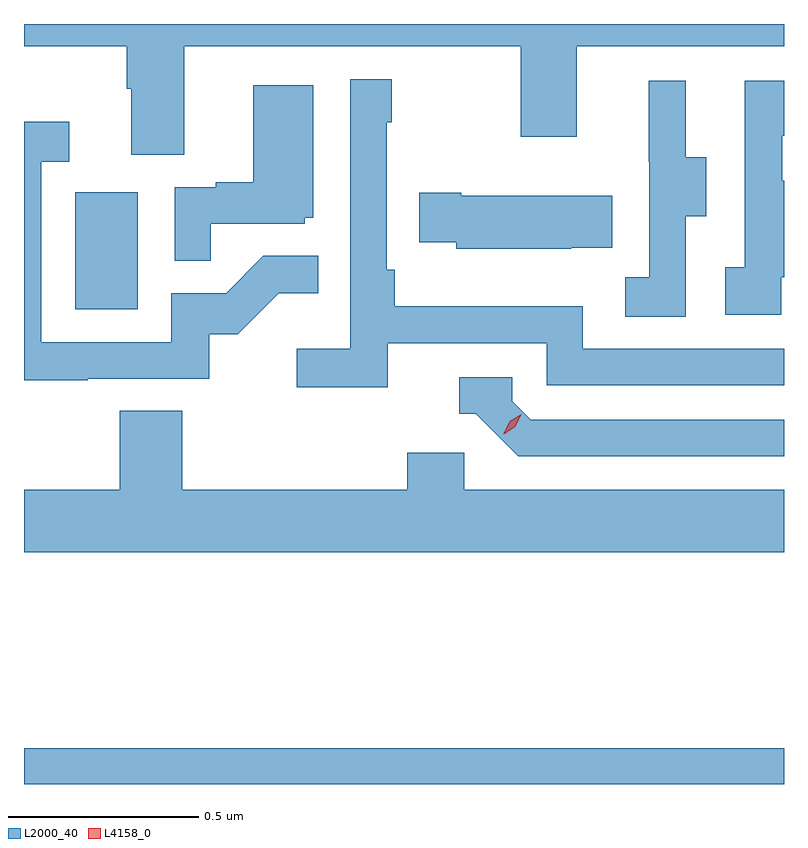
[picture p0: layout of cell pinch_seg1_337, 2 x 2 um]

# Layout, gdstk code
import gdstk
lib = gdstk.Library(unit=1e-6, precision=1e-09)
def R(c, l, rs):  # rectangles x0, y0, x1, y1
    for r in rs: c.add(gdstk.rectangle(r[:2], r[2:], *l))
def P(c, l, *ps):  # polygons
    for p in ps: c.add(gdstk.Polygon(p, *l))
L2000_40 = (2000, 40)
L4158_0 = (4158, 0)

pinch_seg1_337 = lib.new_cell('pinch_seg1_337')
R(pinch_seg1_337, L2000_40, [(983.921,559.114,985.921,559.208), (984.056,560.364,984.22,560.671)])
P(pinch_seg1_337, L2000_40, [(984.343,561.056),(985.228,561.056),(985.228,560.817),(985.375,560.817),(985.375,561.056),(985.921,561.056),(985.921,561.114),(983.921,561.114),(983.921,561.056),(984.191,561.056),(984.191,560.944),(984.203,560.944),(984.203,560.77),(984.343,560.77)],
  [(984.878,560.274),(985.296,560.274),(985.296,560.163),(985.921,560.163),(985.921,560.259),(985.392,560.259),(985.392,560.371),(984.896,560.371),(984.896,560.467),(984.876,560.467),(984.876,560.855),(984.889,560.855),(984.889,560.968),(984.78,560.968),(984.78,560.26),(984.639,560.26),(984.639,560.158),(984.878,560.158)],
  [(985.662,560.608),(985.717,560.608),(985.717,560.763),(985.663,560.763),(985.663,560.965),(985.565,560.965),(985.565,560.751),(985.566,560.751),(985.566,560.447),(985.503,560.447),(985.503,560.344),(985.662,560.344)],
  [(985.914,560.447),(985.921,560.447),(985.921,560.702),(985.917,560.702),(985.917,560.82),(985.921,560.82),(985.921,560.965),(985.818,560.965),(985.818,560.474),(985.767,560.474),(985.767,560.349),(985.914,560.349)],
  [(984.413,560.589),(984.66,560.589),(984.66,560.604),(984.682,560.604),(984.682,560.953),(984.524,560.953),(984.524,560.698),(984.425,560.698),(984.425,560.685),(984.318,560.685),(984.318,560.491),(984.413,560.491)],
  [(984.089,560.181),(984.408,560.181),(984.408,560.298),(984.484,560.298),(984.591,560.405),(984.695,560.405),(984.695,560.504),(984.551,560.504),(984.453,560.406),(984.309,560.406),(984.309,560.277),(983.967,560.277),(983.967,560.751),(984.04,560.751),(984.04,560.857),(983.921,560.857),(983.921,560.176),(984.089,560.176)],
  [(985.361,560.525),(985.469,560.525),(985.469,560.662),(985.072,560.662),(985.072,560.67),(984.961,560.67),(984.961,560.54),(985.059,560.54),(985.059,560.522),(985.361,560.522)],
  [(985.921,560.073),(985.254,560.073),(985.206,560.121),(985.206,560.184),(985.067,560.184),(985.067,560.088),(985.11,560.088),(985.221,559.977),(985.921,559.977)],
  [(985.921,559.888),(985.08,559.888),(985.08,559.986),(984.929,559.986),(984.929,559.888),(984.338,559.888),(984.338,560.096),(984.173,560.096),(984.173,559.888),(983.921,559.888),(983.921,559.724),(985.921,559.724)])
P(pinch_seg1_337, L4158_0, [(985.183,560.035),(985.183,560.036),(985.199,560.068),(985.229,560.087),(985.23,560.087),(985.23,560.087),(985.214,560.054),(985.183,560.035)])

lib.write_gds('pinch_seg1_337.gds')
